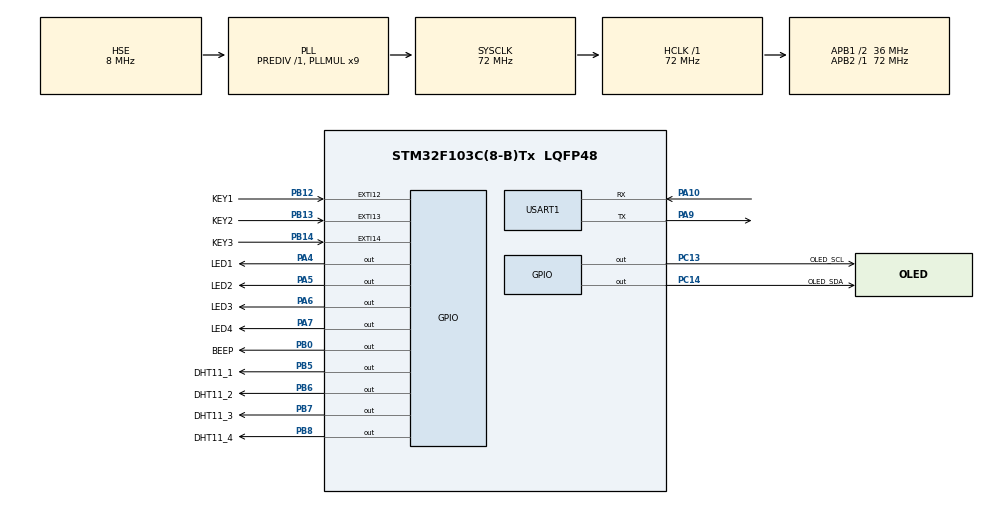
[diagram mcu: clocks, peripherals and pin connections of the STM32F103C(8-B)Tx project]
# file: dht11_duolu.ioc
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Dma.Request0=USART1_RX
Dma.Request1=USART1_TX
Dma.USART1_RX.0.Direction=DMA_PERIPH_TO_MEMORY
Dma.USART1_RX.0.Instance=DMA1_Channel5
Dma.USART1_RX.0.MemDataAlignment=DMA_MDATAALIGN_BYTE
Dma.USART1_RX.0.MemInc=DMA_MINC_ENABLE
Dma.USART1_RX.0.Mode=DMA_NORMAL
Dma.USART1_RX.0.PeriphDataAlignment=DMA_PDATAALIGN_BYTE
Dma.USART1_RX.0.PeriphInc=DMA_PINC_DISABLE
Dma.USART1_RX.0.Priority=DMA_PRIORITY_LOW
Dma.USART1_TX.1.Direction=DMA_MEMORY_TO_PERIPH
Dma.USART1_TX.1.Instance=DMA1_Channel4
Dma.USART1_TX.1.MemDataAlignment=DMA_MDATAALIGN_BYTE
Dma.USART1_TX.1.MemInc=DMA_MINC_ENABLE
Dma.USART1_TX.1.Mode=DMA_NORMAL
Dma.USART1_TX.1.PeriphDataAlignment=DMA_PDATAALIGN_BYTE
Dma.USART1_TX.1.PeriphInc=DMA_PINC_DISABLE
Dma.USART1_TX.1.Priority=DMA_PRIORITY_LOW
Mcu.Family=STM32F1
Mcu.Name=STM32F103C(8-B)Tx
Mcu.Package=LQFP48
NVIC.DMA1_Channel4_IRQn=true\:0\:0\:false\:false\:true\:false\:true\:true
NVIC.DMA1_Channel5_IRQn=true\:0\:0\:false\:false\:true\:false\:true\:true
NVIC.EXTI15_10_IRQn=true\:0\:0\:false\:false\:true\:true\:true\:true
NVIC.PriorityGroup=NVIC_PRIORITYGROUP_4
NVIC.USART1_IRQn=true\:1\:0\:true\:false\:true\:true\:true\:true
PA10.Mode=Asynchronous
PA10.Signal=USART1_RX
PA13.Mode=Serial_Wire
PA13.Signal=SYS_JTMS-SWDIO
PA14.Mode=Serial_Wire
PA14.Signal=SYS_JTCK-SWCLK
PA4.GPIO_Label=LED1
PA4.GPIO_ModeDefaultOutputPP=GPIO_MODE_OUTPUT_PP
PA4.GPIO_PuPd=GPIO_PULLUP
PA4.GPIO_Speed=GPIO_SPEED_FREQ_HIGH
PA4.PinState=GPIO_PIN_SET
PA4.Signal=GPIO_Output
PA5.GPIO_Label=LED2
PA5.GPIO_ModeDefaultOutputPP=GPIO_MODE_OUTPUT_PP
PA5.GPIO_PuPd=GPIO_PULLUP
PA5.GPIO_Speed=GPIO_SPEED_FREQ_HIGH
PA5.PinState=GPIO_PIN_SET
PA5.Signal=GPIO_Output
PA6.GPIO_Label=LED3
PA6.GPIO_ModeDefaultOutputPP=GPIO_MODE_OUTPUT_PP
PA6.GPIO_PuPd=GPIO_PULLUP
PA6.GPIO_Speed=GPIO_SPEED_FREQ_HIGH
PA6.PinState=GPIO_PIN_SET
PA6.Signal=GPIO_Output
PA7.GPIO_Label=LED4
PA7.GPIO_ModeDefaultOutputPP=GPIO_MODE_OUTPUT_PP
PA7.GPIO_PuPd=GPIO_PULLUP
PA7.GPIO_Speed=GPIO_SPEED_FREQ_HIGH
PA7.PinState=GPIO_PIN_SET
PA7.Signal=GPIO_Output
PA9.Mode=Asynchronous
PA9.Signal=USART1_TX
PB0.GPIO_Label=BEEP
PB0.GPIO_ModeDefaultOutputPP=GPIO_MODE_OUTPUT_PP
PB0.GPIO_PuPd=GPIO_PULLUP
PB0.GPIO_Speed=GPIO_SPEED_FREQ_HIGH
PB0.PinState=GPIO_PIN_SET
PB0.Signal=GPIO_Output
PB12.GPIO_Label=KEY1
PB12.GPIO_ModeDefaultEXTI=GPIO_MODE_IT_FALLING
PB12.GPIO_PuPd=GPIO_PULLUP
PB12.Signal=GPXTI12
PB13.GPIO_Label=KEY2
PB13.GPIO_ModeDefaultEXTI=GPIO_MODE_IT_FALLING
PB13.GPIO_PuPd=GPIO_PULLUP
PB13.Signal=GPXTI13
PB14.GPIO_Label=KEY3
PB14.GPIO_ModeDefaultEXTI=GPIO_MODE_IT_FALLING
PB14.GPIO_PuPd=GPIO_PULLUP
PB14.Signal=GPXTI14
PB5.GPIO_Label=DHT11_1
PB5.GPIO_ModeDefaultOutputPP=GPIO_MODE_OUTPUT_PP
PB5.GPIO_PuPd=GPIO_PULLUP
PB5.GPIO_Speed=GPIO_SPEED_FREQ_HIGH
PB5.PinState=GPIO_PIN_SET
PB5.Signal=GPIO_Output
PB6.GPIO_Label=DHT11_2
PB6.GPIO_ModeDefaultOutputPP=GPIO_MODE_OUTPUT_PP
PB6.GPIO_PuPd=GPIO_PULLUP
PB6.GPIO_Speed=GPIO_SPEED_FREQ_HIGH
PB6.PinState=GPIO_PIN_SET
PB6.Signal=GPIO_Output
PB7.GPIO_Label=DHT11_3
PB7.GPIO_ModeDefaultOutputPP=GPIO_MODE_OUTPUT_PP
PB7.GPIO_PuPd=GPIO_PULLUP
PB7.GPIO_Speed=GPIO_SPEED_FREQ_HIGH
PB7.PinState=GPIO_PIN_SET
PB7.Signal=GPIO_Output
PB8.GPIO_Label=DHT11_4
PB8.GPIO_ModeDefaultOutputPP=GPIO_MODE_OUTPUT_PP
PB8.GPIO_PuPd=GPIO_PULLUP
PB8.GPIO_Speed=GPIO_SPEED_FREQ_HIGH
PB8.PinState=GPIO_PIN_SET
PB8.Signal=GPIO_Output
PC13-TAMPER-RTC.GPIO_Label=OLED_SCL
PC13-TAMPER-RTC.GPIO_ModeDefaultOutputPP=GPIO_MODE_OUTPUT_PP
PC13-TAMPER-RTC.GPIO_PuPd=GPIO_PULLUP
PC13-TAMPER-RTC.GPIO_Speed=GPIO_SPEED_FREQ_HIGH
PC13-TAMPER-RTC.PinState=GPIO_PIN_SET
PC13-TAMPER-RTC.Signal=GPIO_Output
PC14-OSC32_IN.GPIO_Label=OLED_SDA
PC14-OSC32_IN.GPIO_PuPd=GPIO_PULLUP
PC14-OSC32_IN.GPIO_Speed=GPIO_SPEED_FREQ_HIGH
PC14-OSC32_IN.PinState=GPIO_PIN_SET
PC14-OSC32_IN.Signal=GPIO_Output
PD0-OSC_IN.Mode=HSE-External-Oscillator
PD0-OSC_IN.Signal=RCC_OSC_IN
PD1-OSC_OUT.Mode=HSE-External-Oscillator
PD1-OSC_OUT.Signal=RCC_OSC_OUT
ProjectManager.HeapSize=0x200
ProjectManager.StackSize=0x400
ProjectManager.TargetToolchain=MDK-ARM V5.32
RCC.AHBFreq_Value=72000000
RCC.APB1CLKDivider=RCC_HCLK_DIV2
RCC.APB1Freq_Value=36000000
RCC.APB1TimFreq_Value=72000000
RCC.APB2Freq_Value=72000000
RCC.APB2TimFreq_Value=72000000
RCC.HCLKFreq_Value=72000000
RCC.PLLMUL=RCC_PLL_MUL9
RCC.PLLSourceVirtual=RCC_PLLSOURCE_HSE
RCC.SYSCLKFreq_VALUE=72000000
RCC.SYSCLKSource=RCC_SYSCLKSOURCE_PLLCLK
RCC.USBFreq_Value=72000000
USART1.VirtualMode=VM_ASYNC
board=custom

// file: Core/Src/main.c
/* USER CODE BEGIN Header */
/**
  ******************************************************************************
  * @file           : main.c
  * @brief          : Main program body
  ******************************************************************************
  * @attention
  *
  * Copyright (c) 2026 STMicroelectronics.
  * All rights reserved.
  *
  * This software is licensed under terms that can be found in the LICENSE file
  * in the root directory of this software component.
  * If no LICENSE file comes with this software, it is provided AS-IS.
  *
  ******************************************************************************
  */
/* USER CODE END Header */
#include "main.h"
#include "dma.h"
#include "usart.h"
#include "gpio.h"

/* USER CODE BEGIN Includes */
#include "oled.h"
#include "dht11.h"
#include "esp8266.h"
#include "mqtt_publisher.h"
/* USER CODE END Includes */

/* USER CODE BEGIN PV */
uint8_t current_screen = 1; // 界面切换变量，1表示界面1（主界面），2表示界面2（平均值界面），3表示设置界面

// 数据采集和存储
#define MAX_DATA_POINTS 128 // 最大数据点数量
uint8_t humidity_data[MAX_DATA_POINTS]; // 湿度数据
uint8_t temperature_data[MAX_DATA_POINTS]; // 温度数据
uint16_t data_index = 0; // 当前数据点索引

// 数据滤波相关变量
#define FILTER_WINDOW_SIZE 5 // 滤波窗口大小
uint8_t humidity_filter_buf[FILTER_WINDOW_SIZE][4]; // 4个传感器的湿度滤波缓冲区
uint8_t temperature_filter_buf[FILTER_WINDOW_SIZE][4]; // 4个传感器的温度滤波缓冲区
uint8_t filter_index = 0; // 滤波缓冲区索引
uint8_t filter_ready = 0; // 滤波是否就绪标志

// 阈值设置相关变量
uint8_t temp_threshold = 25; // 温度阈值（默认25°C，范围0-40）
uint8_t humi_threshold = 60; // 湿度阈值（默认60%，范围0-99）
uint8_t setting_mode = 0; // 设置模式：0-温度阈值，1-湿度阈值，2-保存返回

// Flash存储相关定义
#define FLASH_THRESHOLD_ADDR 0x0800FC00 // Flash存储地址（最后一页）
#define FLASH_MAGIC_NUMBER 0xAA55 // 魔数用于验证数据有效性

// 阈值数据结构
typedef struct {
    uint16_t magic;        // 魔数
    uint8_t temp_threshold; // 温度阈值
    uint8_t humi_threshold; // 湿度阈值
    uint8_t reserved[2];   // 保留字节
} ThresholdData_t;
/* USER CODE END PV */

void SystemClock_Config(void);
/* USER CODE BEGIN PFP */

// 数据滤波函数
uint8_t moving_average_filter(uint8_t* buffer, uint8_t sensor_index, uint8_t new_value);

// Flash存储函数
void save_thresholds_to_flash(void);
void load_thresholds_from_flash(void);

/* USER CODE END PFP */

int main(void)
{

  /* USER CODE BEGIN 1 */
  uint8_t wifi_try = 0, mqtt_try = 0;
  /* USER CODE END 1 */

  /* MCU Configuration--------------------------------------------------------*/

  /* Reset of all peripherals, Initializes the Flash interface and the Systick. */
  HAL_Init();

  /* Configure the system clock */
  SystemClock_Config();

  /* Initialize all configured peripherals */
  MX_GPIO_Init();
  MX_DMA_Init();
  MX_USART1_UART_Init();
  /* USER CODE BEGIN 2 */
  OLED_Init();
  OLED_Clear();

  // 从Flash加载阈值设置
  load_thresholds_from_flash();

  // 显示欢迎界面2秒
  OLED_ShowString(20, 0, (uint8_t*)"Welcome", 16, 1);
  OLED_ShowString(10, 20, (uint8_t*)"DHT11 System", 16, 1);
  OLED_Refresh();

  // 延时2秒
  HAL_Delay(2000);

  // 清屏并进入主循环
  OLED_Clear();
  OLED_Refresh();
  	ESP8266_Init();
		  //WIFI连接
   while (wifi_try < 5 && !ESP8266_ConnectWiFi())
  {
      wifi_try++;
      HAL_Delay(1000);
  }

	  //上云
	if(ESP8266_ConnectCloud()==false)
	{
		  while(1);
	}
	HAL_Delay(5000);
	ESP8266_Clear();
	OLED_Clear();

	//订阅
	if(!ESP8266_MQTT_Subscribe(MQTT_TOPIC_POST_REPLY,1))
	{
		  while(1);
	}

	//发布
		if(!ESP8266_MQTT_Subscribe(MQTT_TOPIC_SET,0))
	{
		  while(1);
	}
  /* USER CODE END 2 */

  /* Infinite loop */
  while (1)
  {

    /* USER CODE BEGIN 3 */
    DHT11_Data data1, data2, data3, data4;
    DHT11_Data filtered_data1, filtered_data2, filtered_data3, filtered_data4;

    // 读取四个DHT11的温湿度数据
    DHT11_ReadData(DHT11_1_PORT, DHT11_1_PIN, &data1);
    DHT11_ReadData(DHT11_2_PORT, DHT11_2_PIN, &data2);
    DHT11_ReadData(DHT11_3_PORT, DHT11_3_PIN, &data3);
    DHT11_ReadData(DHT11_4_PORT, DHT11_4_PIN, &data4);

    // 应用数据滤波
    filtered_data1.humidity = moving_average_filter((uint8_t*)humidity_filter_buf, 0, data1.humidity);
    filtered_data1.temperature = moving_average_filter((uint8_t*)temperature_filter_buf, 0, data1.temperature);

    filtered_data2.humidity = moving_average_filter((uint8_t*)humidity_filter_buf, 1, data2.humidity);
    filtered_data2.temperature = moving_average_filter((uint8_t*)temperature_filter_buf, 1, data2.temperature);

    filtered_data3.humidity = moving_average_filter((uint8_t*)humidity_filter_buf, 2, data3.humidity);
    filtered_data3.temperature = moving_average_filter((uint8_t*)temperature_filter_buf, 2, data3.temperature);

    filtered_data4.humidity = moving_average_filter((uint8_t*)humidity_filter_buf, 3, data4.humidity);
    filtered_data4.temperature = moving_average_filter((uint8_t*)temperature_filter_buf, 3, data4.temperature);

    // 更新滤波索引
    filter_index = (filter_index + 1) % FILTER_WINDOW_SIZE;
    if (filter_index == 0) {
        filter_ready = 1; // 滤波缓冲区已填满
    }

    // 计算平均值（使用滤波后的数据）
    uint8_t avg_humidity = (filtered_data1.humidity + filtered_data2.humidity + filtered_data3.humidity + filtered_data4.humidity) / 4;
    uint8_t avg_temperature = (filtered_data1.temperature + filtered_data2.temperature + filtered_data3.temperature + filtered_data4.temperature) / 4;
		    char temp_buf[16];
            sprintf(temp_buf, "%d.%d", avg_temperature, 0);
        MQTT_Publish_temp(temp_buf);
					  sprintf(temp_buf, "%d.%d", avg_humidity, 0);
        MQTT_Publish_humidity(temp_buf);
    // 根据阈值控制LED
    // DHT11_1温度或湿度高于阈值，LED1拉低（点亮），否则拉高（熄灭）
    if (filtered_data1.temperature > temp_threshold || filtered_data1.humidity > humi_threshold) {
        HAL_GPIO_WritePin(LED1_GPIO_Port, LED1_Pin, GPIO_PIN_RESET); // 拉低，点亮LED
    } else {
        HAL_GPIO_WritePin(LED1_GPIO_Port, LED1_Pin, GPIO_PIN_SET);   // 拉高，熄灭LED
    }

    // DHT11_2温度或湿度高于阈值，LED2拉低（点亮），否则拉高（熄灭）
    if (filtered_data2.temperature > temp_threshold || filtered_data2.humidity > humi_threshold) {
        HAL_GPIO_WritePin(LED2_GPIO_Port, LED2_Pin, GPIO_PIN_RESET); // 拉低，点亮LED
    } else {
        HAL_GPIO_WritePin(LED2_GPIO_Port, LED2_Pin, GPIO_PIN_SET);   // 拉高，熄灭LED
    }

    // DHT11_3温度或湿度高于阈值，LED3拉低（点亮），否则拉高（熄灭）
    if (filtered_data3.temperature > temp_threshold || filtered_data3.humidity > humi_threshold) {
        HAL_GPIO_WritePin(LED3_GPIO_Port, LED3_Pin, GPIO_PIN_RESET); // 拉低，点亮LED
    } else {
        HAL_GPIO_WritePin(LED3_GPIO_Port, LED3_Pin, GPIO_PIN_SET);   // 拉高，熄灭LED
    }

    // DHT11_4温度或湿度高于阈值，LED4拉低（点亮），否则拉高（熄灭）
    if (filtered_data4.temperature > temp_threshold || filtered_data4.humidity > humi_threshold) {
        HAL_GPIO_WritePin(LED4_GPIO_Port, LED4_Pin, GPIO_PIN_RESET); // 拉低，点亮LED
    } else {
        HAL_GPIO_WritePin(LED4_GPIO_Port, LED4_Pin, GPIO_PIN_SET);   // 拉高，熄灭LED
    }

    // 存储数据
    humidity_data[data_index] = avg_humidity;
    temperature_data[data_index] = avg_temperature;
    data_index = (data_index + 1) % MAX_DATA_POINTS;

    // 在平均值界面控制蜂鸣器
    if (current_screen == 2) {
        // 平均值界面：温度或湿度平均值超过阈值，拉低BEEP工作（蜂鸣），否则拉高BEEP（静音）
        if (avg_temperature > temp_threshold || avg_humidity > humi_threshold) {
            HAL_GPIO_WritePin(BEEP_GPIO_Port, BEEP_Pin, GPIO_PIN_RESET); // 拉低，蜂鸣器工作
        } else {
            HAL_GPIO_WritePin(BEEP_GPIO_Port, BEEP_Pin, GPIO_PIN_SET);   // 拉高，蜂鸣器静音
        }
    } else {
        // 其他界面：蜂鸣器静音
        HAL_GPIO_WritePin(BEEP_GPIO_Port, BEEP_Pin, GPIO_PIN_SET);
    }

    // 显示数据到OLED
    OLED_Clear();

    if (current_screen == 1) {
      // 界面1：显示四个DHT11的原始数据
      // 显示DHT11_1的数据（使用滤波后的数据）
      OLED_ShowString(0, 0, (uint8_t*)"DHT11_1:", 8, 1);
      OLED_ShowString(56, 0, (uint8_t*)"H:", 8, 1);
      OLED_ShowNum(64, 0, filtered_data1.humidity, 2, 8, 1);
      OLED_ShowString(80, 0, (uint8_t*)"%", 8, 1);
      OLED_ShowString(88, 0, (uint8_t*)"T:", 8, 1);
      OLED_ShowNum(96, 0, filtered_data1.temperature, 2, 8, 1);
      OLED_ShowString(112, 0, (uint8_t*)"C", 8, 1);

      // 显示DHT11_2的数据（使用滤波后的数据）
      OLED_ShowString(0, 16, (uint8_t*)"DHT11_2:", 8, 1);
      OLED_ShowString(56, 16, (uint8_t*)"H:", 8, 1);
      OLED_ShowNum(64, 16, filtered_data2.humidity, 2, 8, 1);
      OLED_ShowString(80, 16, (uint8_t*)"%", 8, 1);
      OLED_ShowString(88, 16, (uint8_t*)"T:", 8, 1);
      OLED_ShowNum(96, 16, filtered_data2.temperature, 2, 8, 1);
      OLED_ShowString(112, 16, (uint8_t*)"C", 8, 1);

      // 显示DHT11_3的数据（使用滤波后的数据）
      OLED_ShowString(0, 32, (uint8_t*)"DHT11_3:", 8, 1);
      OLED_ShowString(56, 32, (uint8_t*)"H:", 8, 1);
      OLED_ShowNum(64, 32, filtered_data3.humidity, 2, 8, 1);
      OLED_ShowString(80, 32, (uint8_t*)"%", 8, 1);
      OLED_ShowString(88, 32, (uint8_t*)"T:", 8, 1);
      OLED_ShowNum(96, 32, filtered_data3.temperature, 2, 8, 1);
      OLED_ShowString(112, 32, (uint8_t*)"C", 8, 1);

      // 显示DHT11_4的数据（使用滤波后的数据）
      OLED_ShowString(0, 48, (uint8_t*)"DHT11_4:", 8, 1);
      OLED_ShowString(56, 48, (uint8_t*)"H:", 8, 1);
      OLED_ShowNum(64, 48, filtered_data4.humidity, 2, 8, 1);
      OLED_ShowString(80, 48, (uint8_t*)"%", 8, 1);
      OLED_ShowString(88, 48, (uint8_t*)"T:", 8, 1);
      OLED_ShowNum(96, 48, filtered_data4.temperature, 2, 8, 1);
      OLED_ShowString(112, 48, (uint8_t*)"C", 8, 1);
    } else if (current_screen == 2) {
      // 界面2：显示DHT11的温湿度平均值
      OLED_ShowString(0, 0, (uint8_t*)"Average:", 8, 1);
      OLED_ShowString(0, 24, (uint8_t*)"Humidity:", 8, 1);
      OLED_ShowNum(64, 24, avg_humidity, 2, 8, 1);
      OLED_ShowString(80, 24, (uint8_t*)"%", 8, 1);
      OLED_ShowString(0, 48, (uint8_t*)"Temperature:", 8, 1);
      OLED_ShowNum(80, 48, avg_temperature, 2, 8, 1);
      OLED_ShowString(96, 48, (uint8_t*)"C", 8, 1);
    } else if (current_screen == 3) {
      // 界面3：设置界面（温湿度阈值在同一页面）
      OLED_ShowString(0, 0, (uint8_t*)"Settings:", 8, 1);

      if (setting_mode == 0) {
        // 温度阈值设置模式
        OLED_ShowString(0, 16, (uint8_t*)"Temp:", 8, 1);
        OLED_ShowNum(40, 16, temp_threshold, 2, 8, 1);
        OLED_ShowString(56, 16, (uint8_t*)"C", 8, 1);
        OLED_ShowString(80, 16, (uint8_t*)"<-", 8, 1);

        OLED_ShowString(0, 32, (uint8_t*)"Humi:", 8, 1);
        OLED_ShowNum(40, 32, humi_threshold, 2, 8, 1);
        OLED_ShowString(56, 32, (uint8_t*)"%", 8, 1);

        OLED_ShowString(0, 48, (uint8_t*)"KEY1:- KEY3:+ KEY2:OK", 8, 1);
      } else if (setting_mode == 1) {
        // 湿度阈值设置模式
        OLED_ShowString(0, 16, (uint8_t*)"Temp:", 8, 1);
        OLED_ShowNum(40, 16, temp_threshold, 2, 8, 1);
        OLED_ShowString(56, 16, (uint8_t*)"C", 8, 1);

        OLED_ShowString(0, 32, (uint8_t*)"Humi:", 8, 1);
        OLED_ShowNum(40, 32, humi_threshold, 2, 8, 1);
        OLED_ShowString(56, 32, (uint8_t*)"%", 8, 1);
        OLED_ShowString(80, 32, (uint8_t*)"<-", 8, 1);

        OLED_ShowString(0, 48, (uint8_t*)"KEY1:- KEY3:+ KEY2:OK", 8, 1);
      } else {
        // 保存并返回模式
        OLED_ShowString(0, 0, (uint8_t*)"Settings:", 8, 1);
        OLED_ShowString(0, 16, (uint8_t*)"Temp:", 8, 1);
        OLED_ShowNum(40, 16, temp_threshold, 2, 8, 1);
        OLED_ShowString(56, 16, (uint8_t*)"C", 8, 1);

        OLED_ShowString(0, 32, (uint8_t*)"Humi:", 8, 1);
        OLED_ShowNum(40, 32, humi_threshold, 2, 8, 1);
        OLED_ShowString(56, 32, (uint8_t*)"%", 8, 1);

        OLED_ShowString(0, 48, (uint8_t*)"Press KEY2 to Save", 8, 1);
      }

      // 显示当前设置模式指示器
      OLED_ShowString(104, 0, (uint8_t*)"M:", 8, 1);
      OLED_ShowNum(120, 0, setting_mode, 1, 8, 1);
    }

    OLED_Refresh();
    HAL_Delay(1000); // 每2秒读取一次数据
  /* USER CODE END 3 */
}
	}

void SystemClock_Config(void)
{
  RCC_OscInitTypeDef RCC_OscInitStruct = {0};
  RCC_ClkInitTypeDef RCC_ClkInitStruct = {0};

  /** Initializes the RCC Oscillators according to the specified parameters
  * in the RCC_OscInitTypeDef structure.
  */
  RCC_OscInitStruct.OscillatorType = RCC_OSCILLATORTYPE_HSE;
  RCC_OscInitStruct.HSEState = RCC_HSE_ON;
  RCC_OscInitStruct.HSEPredivValue = RCC_HSE_PREDIV_DIV1;
  RCC_OscInitStruct.HSIState = RCC_HSI_ON;
  RCC_OscInitStruct.PLL.PLLState = RCC_PLL_ON;
  RCC_OscInitStruct.PLL.PLLSource = RCC_PLLSOURCE_HSE;
  RCC_OscInitStruct.PLL.PLLMUL = RCC_PLL_MUL9;
  if (HAL_RCC_OscConfig(&RCC_OscInitStruct) != HAL_OK)
  {
    Error_Handler();
  }

  /** Initializes the CPU, AHB and APB buses clocks
  */
  RCC_ClkInitStruct.ClockType = RCC_CLOCKTYPE_HCLK|RCC_CLOCKTYPE_SYSCLK
                              |RCC_CLOCKTYPE_PCLK1|RCC_CLOCKTYPE_PCLK2;
  RCC_ClkInitStruct.SYSCLKSource = RCC_SYSCLKSOURCE_PLLCLK;
  RCC_ClkInitStruct.AHBCLKDivider = RCC_SYSCLK_DIV1;
  RCC_ClkInitStruct.APB1CLKDivider = RCC_HCLK_DIV2;
  RCC_ClkInitStruct.APB2CLKDivider = RCC_HCLK_DIV1;

  if (HAL_RCC_ClockConfig(&RCC_ClkInitStruct, FLASH_LATENCY_2) != HAL_OK)
  {
    Error_Handler();
  }
}

/* USER CODE BEGIN 4 */

// 移动平均滤波函数
uint8_t moving_average_filter(uint8_t* buffer, uint8_t sensor_index, uint8_t new_value)
{
    uint16_t sum = 0;

    // 更新滤波缓冲区（正确使用二维数组索引）
    uint8_t (*filter_buf)[4] = (uint8_t(*)[4])buffer;
    filter_buf[filter_index][sensor_index] = new_value;

    // 计算平均值
    for (uint8_t i = 0; i < FILTER_WINDOW_SIZE; i++) {
        sum += filter_buf[i][sensor_index];
    }

    return (uint8_t)(sum / FILTER_WINDOW_SIZE);
}

// 保存阈值到Flash
void save_thresholds_to_flash(void)
{
    FLASH_EraseInitTypeDef erase_init;
    uint32_t page_error = 0;

    // 解锁Flash
    HAL_FLASH_Unlock();

    // 配置擦除参数
    erase_init.TypeErase = FLASH_TYPEERASE_PAGES;
    erase_init.PageAddress = FLASH_THRESHOLD_ADDR;
    erase_init.NbPages = 1;

    // 擦除Flash页
    if (HAL_FLASHEx_Erase(&erase_init, &page_error) == HAL_OK) {
        // 准备阈值数据
        ThresholdData_t threshold_data;
        threshold_data.magic = FLASH_MAGIC_NUMBER;
        threshold_data.temp_threshold = temp_threshold;
        threshold_data.humi_threshold = humi_threshold;
        threshold_data.reserved[0] = 0;
        threshold_data.reserved[1] = 0;

        // 写入Flash
        uint32_t *data_ptr = (uint32_t*)&threshold_data;
        for (uint8_t i = 0; i < sizeof(ThresholdData_t) / 4; i++) {
            HAL_FLASH_Program(FLASH_TYPEPROGRAM_WORD, FLASH_THRESHOLD_ADDR + i * 4, data_ptr[i]);
        }
    }

    // 锁定Flash
    HAL_FLASH_Lock();
}

// 从Flash读取阈值
void load_thresholds_from_flash(void)
{
    ThresholdData_t *threshold_data = (ThresholdData_t*)FLASH_THRESHOLD_ADDR;

    // 检查魔数是否有效
    if (threshold_data->magic == FLASH_MAGIC_NUMBER) {
        temp_threshold = threshold_data->temp_threshold;
        humi_threshold = threshold_data->humi_threshold;
    }
}

/* USER CODE END 4 */

void Error_Handler(void)
{
  __disable_irq();
  while (1)
  {
  }
}
